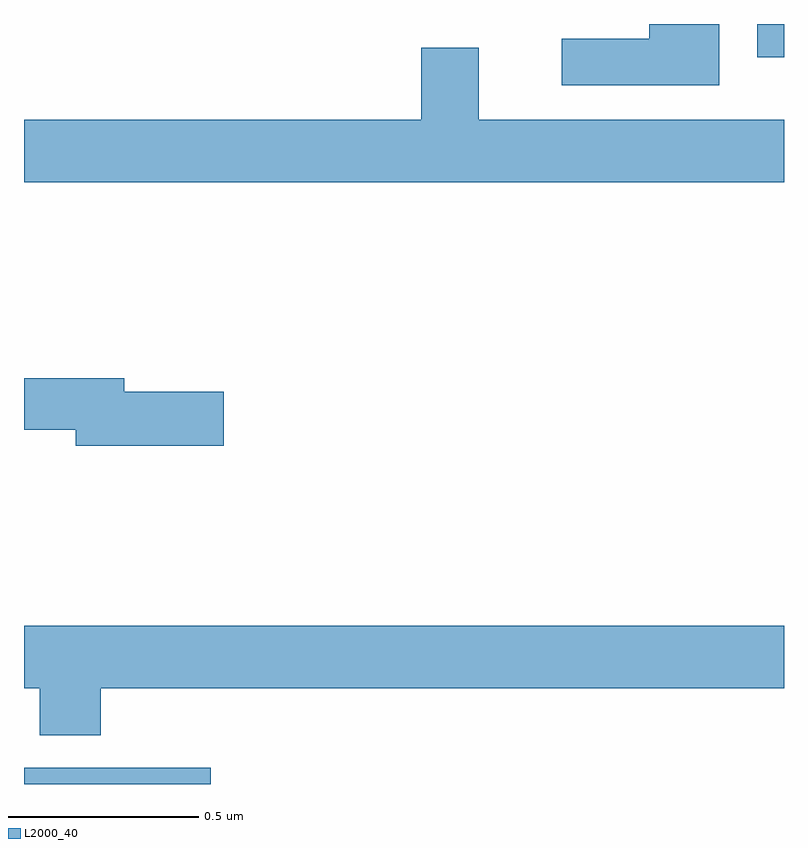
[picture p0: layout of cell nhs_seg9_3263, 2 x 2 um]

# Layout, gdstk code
import gdstk
lib = gdstk.Library(unit=1e-6, precision=1e-09)
def R(c, l, rs):  # rectangles x0, y0, x1, y1
    for r in rs: c.add(gdstk.rectangle(r[:2], r[2:], *l))
def P(c, l, *ps):  # polygons
    for p in ps: c.add(gdstk.Polygon(p, *l))
L2000_40 = (2000, 40)

nhs_seg9_3263 = lib.new_cell('nhs_seg9_3263')
R(nhs_seg9_3263, L2000_40, [(151,1197.5,151.492,1197.543), (152.93,1199.412,153,1199.5)])
P(nhs_seg9_3263, L2000_40, [(152.83,1199.5),(152.645,1199.5),(152.645,1199.461),(152.415,1199.461),(152.415,1199.339),(152.83,1199.339)],
  [(153,1199.248),(152.197,1199.248),(152.197,1199.437),(152.045,1199.437),(152.045,1199.248),(151,1199.248),(151,1199.084),(153,1199.084)],
  [(151.525,1198.532),(151.264,1198.532),(151.264,1198.568),(151,1198.568),(151,1198.432),(151.136,1198.432),(151.136,1198.39),(151.525,1198.39)],
  [(151.202,1197.752),(153,1197.752),(153,1197.916),(151,1197.916),(151,1197.752),(151.042,1197.752),(151.042,1197.628),(151.202,1197.628)])

lib.write_gds('nhs_seg9_3263.gds')
